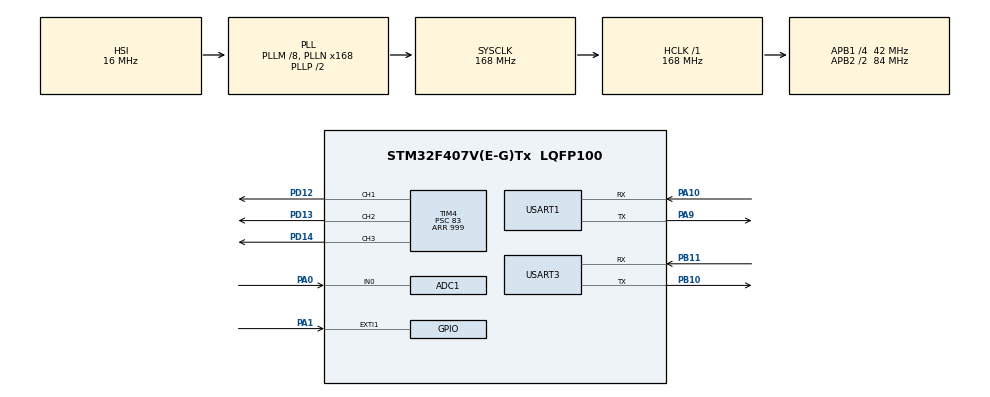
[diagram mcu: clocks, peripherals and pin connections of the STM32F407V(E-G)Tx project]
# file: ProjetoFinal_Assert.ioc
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ADC1.Channel-0\#ChannelRegularConversion=ADC_CHANNEL_0
ADC1.NbrOfConversionFlag=1
ADC1.Rank-0\#ChannelRegularConversion=1
ADC1.SamplingTime-0\#ChannelRegularConversion=ADC_SAMPLETIME_3CYCLES
ADC1.master=1
Mcu.Family=STM32F4
Mcu.Name=STM32F407V(E-G)Tx
Mcu.Package=LQFP100
NVIC.EXTI1_IRQn=true\:0\:0\:false\:false\:true\:true\:true\:true
NVIC.PriorityGroup=NVIC_PRIORITYGROUP_4
NVIC.TIM6_DAC_IRQn=true\:0\:0\:false\:false\:true\:true\:true\:true
NVIC.TIM7_IRQn=true\:0\:0\:false\:false\:true\:true\:true\:true
NVIC.USART1_IRQn=true\:0\:0\:false\:false\:true\:true\:true\:true
NVIC.USART3_IRQn=true\:0\:0\:false\:false\:true\:true\:true\:true
PA0-WKUP.Signal=ADCx_IN0
PA1.GPIO_ModeDefaultEXTI=GPIO_MODE_IT_FALLING
PA1.GPIO_PuPd=GPIO_PULLUP
PA1.Signal=GPXTI1
PA10.Mode=Asynchronous
PA10.Signal=USART1_RX
PA13.Mode=Serial_Wire
PA13.Signal=SYS_JTMS-SWDIO
PA14.Mode=Serial_Wire
PA14.Signal=SYS_JTCK-SWCLK
PA9.Mode=Asynchronous
PA9.Signal=USART1_TX
PB10.Mode=Asynchronous
PB10.Signal=USART3_TX
PB11.Mode=Asynchronous
PB11.Signal=USART3_RX
PD12.Signal=S_TIM4_CH1
PD13.Signal=S_TIM4_CH2
PD14.Signal=S_TIM4_CH3
PH0-OSC_IN.Mode=HSE-External-Oscillator
PH0-OSC_IN.Signal=RCC_OSC_IN
PH1-OSC_OUT.Mode=HSE-External-Oscillator
PH1-OSC_OUT.Signal=RCC_OSC_OUT
ProjectManager.HeapSize=0x200
ProjectManager.StackSize=0x400
ProjectManager.TargetToolchain=STM32CubeIDE
RCC.48MHZClocksFreq_Value=84000000
RCC.AHBFreq_Value=168000000
RCC.APB1CLKDivider=RCC_HCLK_DIV4
RCC.APB1Freq_Value=42000000
RCC.APB1TimFreq_Value=84000000
RCC.APB2CLKDivider=RCC_HCLK_DIV2
RCC.APB2Freq_Value=84000000
RCC.APB2TimFreq_Value=168000000
RCC.CortexFreq_Value=168000000
RCC.HCLKFreq_Value=168000000
RCC.HSE_VALUE=25000000
RCC.HSI_VALUE=16000000
RCC.LSE_VALUE=32768
RCC.PLLM=8
RCC.PLLN=168
RCC.SYSCLKFreq_VALUE=168000000
RCC.SYSCLKSource=RCC_SYSCLKSOURCE_PLLCLK
RCC.VCOOutputFreq_Value=336000000
SH.ADCx_IN0.0=ADC1_IN0,IN0
SH.S_TIM4_CH1.0=TIM4_CH1,PWM Generation1 CH1
SH.S_TIM4_CH2.0=TIM4_CH2,PWM Generation2 CH2
SH.S_TIM4_CH3.0=TIM4_CH3,PWM Generation3 CH3
TIM4.Channel-PWM\ Generation1\ CH1=TIM_CHANNEL_1
TIM4.Channel-PWM\ Generation2\ CH2=TIM_CHANNEL_2
TIM4.Channel-PWM\ Generation3\ CH3=TIM_CHANNEL_3
TIM4.Period=999
TIM4.Prescaler=83
TIM6.Period=4999
TIM6.Prescaler=83
TIM7.Period=999
TIM7.Prescaler=83
USART1.VirtualMode=VM_ASYNC
USART3.VirtualMode=VM_ASYNC
VP_TIM4_VS_ClockSourceINT.Mode=Internal
VP_TIM6_VS_ClockSourceINT.Mode=Enable_Timer
VP_TIM7_VS_ClockSourceINT.Mode=Enable_Timer
board=custom

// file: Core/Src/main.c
/* USER CODE BEGIN Header */
/**
  * @file           : main.c
  * @brief          : Corpo principal do programa - Integrado Assert
  * @details        : Arquivo principal contendo o loop de controle de iluminação
  * via PWM, aquisição de dados do ADC e comunicação UART. Totalmente abstraído.
  */
/* USER CODE END Header */
#include "main.h"

/* USER CODE BEGIN Includes */
#include "Bsp.h"
#include "Sampler.h"
#include "LedPwm.h"
#include "SerialCmd.h"
#include "Button.h"
/* USER CODE END Includes */

ADC_HandleTypeDef hadc1;

TIM_HandleTypeDef htim4;
TIM_HandleTypeDef htim6;
TIM_HandleTypeDef htim7;

UART_HandleTypeDef huart1;
UART_HandleTypeDef huart3;

/* USER CODE BEGIN PV */
/* Código 100% abstraído. Nenhuma variável local ou flag de controle aqui. */
/* USER CODE END PV */

void SystemClock_Config(void);
static void MX_GPIO_Init(void);
static void MX_ADC1_Init(void);
static void MX_TIM4_Init(void);
static void MX_TIM6_Init(void);
static void MX_TIM7_Init(void);
static void MX_USART3_UART_Init(void);
static void MX_USART1_UART_Init(void);

int main(void)
{

  /* MCU Configuration--------------------------------------------------------*/

  /* Reset of all peripherals, Initializes the Flash interface and the Systick. */
  HAL_Init();

  /* Configure the system clock */
  SystemClock_Config();

  /* Initialize all configured peripherals */
  MX_GPIO_Init();
  MX_ADC1_Init();
  MX_TIM4_Init();
  MX_TIM6_Init();
  MX_TIM7_Init();
  MX_USART3_UART_Init();
  MX_USART1_UART_Init();
  /* USER CODE BEGIN 2 */
  HAL_TIM_Base_Start_IT(&htim6); // Inicia o Timer de amostragem (5ms)
  HAL_TIM_Base_Start_IT(&htim7); // Inicia o Timer de Debounce do botão

  /*
  HAL_TIM_PWM_Start(&htim4, TIM_CHANNEL_1); // Ativa sinal PWM para o LED1
  HAL_TIM_PWM_Start(&htim4, TIM_CHANNEL_2); // Ativa sinal PWM para o LED2
  HAL_TIM_PWM_Start(&htim4, TIM_CHANNEL_3); // Ativa sinal PWM para o LED3 */

  Bsp_StartListening(); // Dá o play na escuta da UART!
  /* USER CODE END 2 */

  /* Infinite loop */
  /* USER CODE BEGIN WHILE */
  while (1)
  {
      // 1. Orquestração da Aquisição de Dados e Atualização de Hardware
      if (Bsp_Check5msFlag()) {
          if (Button_GetState() == SISTEMA_ATIVO) {
              Sampler_AddSample(Bsp_ReadADC());
              LedPwm_UpdateDuty(Sampler_GetAveragePercent());
          }
      }

      // 2. Orquestração da Interface de Comunicação UART
      if (Bsp_Check1sFlag()) {
          SerialCmd_SendStatus(
              Sampler_GetAveragePercent(),
              LedPwm_GetDuty(1),
              LedPwm_GetDuty(2),
              LedPwm_GetDuty(3),
              Button_GetState()
          );
      }
    /* USER CODE END WHILE */

  }
}

void SystemClock_Config(void)
{
  RCC_OscInitTypeDef RCC_OscInitStruct = {0};
  RCC_ClkInitTypeDef RCC_ClkInitStruct = {0};

  /** Configure the main internal regulator output voltage
  */
  __HAL_RCC_PWR_CLK_ENABLE();
  __HAL_PWR_VOLTAGESCALING_CONFIG(PWR_REGULATOR_VOLTAGE_SCALE1);

  /** Initializes the RCC Oscillators according to the specified parameters
  * in the RCC_OscInitTypeDef structure.
  */
  RCC_OscInitStruct.OscillatorType = RCC_OSCILLATORTYPE_HSI;
  RCC_OscInitStruct.HSIState = RCC_HSI_ON;
  RCC_OscInitStruct.HSICalibrationValue = RCC_HSICALIBRATION_DEFAULT;
  RCC_OscInitStruct.PLL.PLLState = RCC_PLL_ON;
  RCC_OscInitStruct.PLL.PLLSource = RCC_PLLSOURCE_HSI;
  RCC_OscInitStruct.PLL.PLLM = 8;
  RCC_OscInitStruct.PLL.PLLN = 168;
  RCC_OscInitStruct.PLL.PLLP = RCC_PLLP_DIV2;
  RCC_OscInitStruct.PLL.PLLQ = 4;
  if (HAL_RCC_OscConfig(&RCC_OscInitStruct) != HAL_OK)
  {
    Error_Handler();
  }

  /** Initializes the CPU, AHB and APB buses clocks
  */
  RCC_ClkInitStruct.ClockType = RCC_CLOCKTYPE_HCLK|RCC_CLOCKTYPE_SYSCLK
                              |RCC_CLOCKTYPE_PCLK1|RCC_CLOCKTYPE_PCLK2;
  RCC_ClkInitStruct.SYSCLKSource = RCC_SYSCLKSOURCE_PLLCLK;
  RCC_ClkInitStruct.AHBCLKDivider = RCC_SYSCLK_DIV1;
  RCC_ClkInitStruct.APB1CLKDivider = RCC_HCLK_DIV4;
  RCC_ClkInitStruct.APB2CLKDivider = RCC_HCLK_DIV2;

  if (HAL_RCC_ClockConfig(&RCC_ClkInitStruct, FLASH_LATENCY_5) != HAL_OK)
  {
    Error_Handler();
  }
}

static void MX_ADC1_Init(void)
{

  ADC_ChannelConfTypeDef sConfig = {0};

  /** Configure the global features of the ADC (Clock, Resolution, Data Alignment and number of conversion)
  */
  hadc1.Instance = ADC1;
  hadc1.Init.ClockPrescaler = ADC_CLOCK_SYNC_PCLK_DIV4;
  hadc1.Init.Resolution = ADC_RESOLUTION_12B;
  hadc1.Init.ScanConvMode = DISABLE;
  hadc1.Init.ContinuousConvMode = DISABLE;
  hadc1.Init.DiscontinuousConvMode = DISABLE;
  hadc1.Init.ExternalTrigConvEdge = ADC_EXTERNALTRIGCONVEDGE_NONE;
  hadc1.Init.ExternalTrigConv = ADC_SOFTWARE_START;
  hadc1.Init.DataAlign = ADC_DATAALIGN_RIGHT;
  hadc1.Init.NbrOfConversion = 1;
  hadc1.Init.DMAContinuousRequests = DISABLE;
  hadc1.Init.EOCSelection = ADC_EOC_SINGLE_CONV;
  if (HAL_ADC_Init(&hadc1) != HAL_OK)
  {
    Error_Handler();
  }

  /** Configure for the selected ADC regular channel its corresponding rank in the sequencer and its sample time.
  */
  sConfig.Channel = ADC_CHANNEL_0;
  sConfig.Rank = 1;
  sConfig.SamplingTime = ADC_SAMPLETIME_3CYCLES;
  if (HAL_ADC_ConfigChannel(&hadc1, &sConfig) != HAL_OK)
  {
    Error_Handler();
  }

}

static void MX_TIM4_Init(void)
{

  TIM_ClockConfigTypeDef sClockSourceConfig = {0};
  TIM_MasterConfigTypeDef sMasterConfig = {0};
  TIM_OC_InitTypeDef sConfigOC = {0};

  htim4.Instance = TIM4;
  htim4.Init.Prescaler = 83;
  htim4.Init.CounterMode = TIM_COUNTERMODE_UP;
  htim4.Init.Period = 999;
  htim4.Init.ClockDivision = TIM_CLOCKDIVISION_DIV1;
  htim4.Init.AutoReloadPreload = TIM_AUTORELOAD_PRELOAD_DISABLE;
  if (HAL_TIM_Base_Init(&htim4) != HAL_OK)
  {
    Error_Handler();
  }
  sClockSourceConfig.ClockSource = TIM_CLOCKSOURCE_INTERNAL;
  if (HAL_TIM_ConfigClockSource(&htim4, &sClockSourceConfig) != HAL_OK)
  {
    Error_Handler();
  }
  if (HAL_TIM_PWM_Init(&htim4) != HAL_OK)
  {
    Error_Handler();
  }
  sMasterConfig.MasterOutputTrigger = TIM_TRGO_RESET;
  sMasterConfig.MasterSlaveMode = TIM_MASTERSLAVEMODE_DISABLE;
  if (HAL_TIMEx_MasterConfigSynchronization(&htim4, &sMasterConfig) != HAL_OK)
  {
    Error_Handler();
  }
  sConfigOC.OCMode = TIM_OCMODE_PWM1;
  sConfigOC.Pulse = 0;
  sConfigOC.OCPolarity = TIM_OCPOLARITY_HIGH;
  sConfigOC.OCFastMode = TIM_OCFAST_DISABLE;
  if (HAL_TIM_PWM_ConfigChannel(&htim4, &sConfigOC, TIM_CHANNEL_1) != HAL_OK)
  {
    Error_Handler();
  }
  if (HAL_TIM_PWM_ConfigChannel(&htim4, &sConfigOC, TIM_CHANNEL_2) != HAL_OK)
  {
    Error_Handler();
  }
  if (HAL_TIM_PWM_ConfigChannel(&htim4, &sConfigOC, TIM_CHANNEL_3) != HAL_OK)
  {
    Error_Handler();
  }
  HAL_TIM_MspPostInit(&htim4);

}

static void MX_TIM6_Init(void)
{

  TIM_MasterConfigTypeDef sMasterConfig = {0};

  htim6.Instance = TIM6;
  htim6.Init.Prescaler = 83;
  htim6.Init.CounterMode = TIM_COUNTERMODE_UP;
  htim6.Init.Period = 4999;
  htim6.Init.AutoReloadPreload = TIM_AUTORELOAD_PRELOAD_DISABLE;
  if (HAL_TIM_Base_Init(&htim6) != HAL_OK)
  {
    Error_Handler();
  }
  sMasterConfig.MasterOutputTrigger = TIM_TRGO_RESET;
  sMasterConfig.MasterSlaveMode = TIM_MASTERSLAVEMODE_DISABLE;
  if (HAL_TIMEx_MasterConfigSynchronization(&htim6, &sMasterConfig) != HAL_OK)
  {
    Error_Handler();
  }

}

static void MX_TIM7_Init(void)
{

  TIM_MasterConfigTypeDef sMasterConfig = {0};

  htim7.Instance = TIM7;
  htim7.Init.Prescaler = 83;
  htim7.Init.CounterMode = TIM_COUNTERMODE_UP;
  htim7.Init.Period = 999;
  htim7.Init.AutoReloadPreload = TIM_AUTORELOAD_PRELOAD_DISABLE;
  if (HAL_TIM_Base_Init(&htim7) != HAL_OK)
  {
    Error_Handler();
  }
  sMasterConfig.MasterOutputTrigger = TIM_TRGO_RESET;
  sMasterConfig.MasterSlaveMode = TIM_MASTERSLAVEMODE_DISABLE;
  if (HAL_TIMEx_MasterConfigSynchronization(&htim7, &sMasterConfig) != HAL_OK)
  {
    Error_Handler();
  }

}

static void MX_USART1_UART_Init(void)
{

  huart1.Instance = USART1;
  huart1.Init.BaudRate = 115200;
  huart1.Init.WordLength = UART_WORDLENGTH_8B;
  huart1.Init.StopBits = UART_STOPBITS_1;
  huart1.Init.Parity = UART_PARITY_NONE;
  huart1.Init.Mode = UART_MODE_TX_RX;
  huart1.Init.HwFlowCtl = UART_HWCONTROL_NONE;
  huart1.Init.OverSampling = UART_OVERSAMPLING_16;
  if (HAL_UART_Init(&huart1) != HAL_OK)
  {
    Error_Handler();
  }

}

static void MX_USART3_UART_Init(void)
{

  huart3.Instance = USART3;
  huart3.Init.BaudRate = 115200;
  huart3.Init.WordLength = UART_WORDLENGTH_8B;
  huart3.Init.StopBits = UART_STOPBITS_1;
  huart3.Init.Parity = UART_PARITY_NONE;
  huart3.Init.Mode = UART_MODE_TX_RX;
  huart3.Init.HwFlowCtl = UART_HWCONTROL_NONE;
  huart3.Init.OverSampling = UART_OVERSAMPLING_16;
  if (HAL_UART_Init(&huart3) != HAL_OK)
  {
    Error_Handler();
  }

}

static void MX_GPIO_Init(void)
{
  GPIO_InitTypeDef GPIO_InitStruct = {0};

  /* GPIO Ports Clock Enable */
  __HAL_RCC_GPIOH_CLK_ENABLE();
  __HAL_RCC_GPIOA_CLK_ENABLE();
  __HAL_RCC_GPIOB_CLK_ENABLE();
  __HAL_RCC_GPIOD_CLK_ENABLE();

  /*Configure GPIO pin : PA1 */
  GPIO_InitStruct.Pin = GPIO_PIN_1;
  GPIO_InitStruct.Mode = GPIO_MODE_IT_FALLING;
  GPIO_InitStruct.Pull = GPIO_PULLUP;
  HAL_GPIO_Init(GPIOA, &GPIO_InitStruct);

  /* EXTI interrupt init*/
  HAL_NVIC_SetPriority(EXTI1_IRQn, 0, 0);
  HAL_NVIC_EnableIRQ(EXTI1_IRQn);

}

/* USER CODE BEGIN 4 */
int __io_putchar(int ch)
{
    HAL_UART_Transmit(&huart1, (uint8_t *)&ch, 1, HAL_MAX_DELAY);
    return ch;
}
/* USER CODE END 4 */

void Error_Handler(void)
{
  __disable_irq();
  while (1)
  {
  }
}
#ifdef USE_FULL_ASSERT
/**
  * @brief  Reports the name of the source file and the source line number
  *         where the assert_param error has occurred.
  * @param  file: pointer to the source file name
  * @param  line: assert_param error line source number
  * @retval None
  */
void assert_failed(uint8_t *file, uint32_t line)
{
  /* USER CODE BEGIN 6 */
  /* O usuário pode adicionar sua própria implementação para relatar o arquivo e a linha */
  /* USER CODE END 6 */
}
#endif /* USE_FULL_ASSERT */
